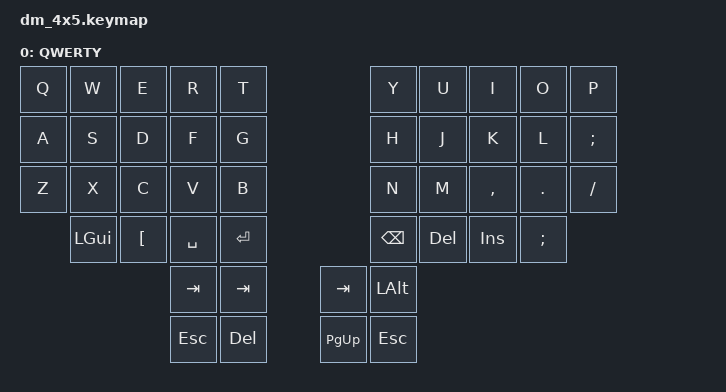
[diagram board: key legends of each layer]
/*
 * Copyright (c) 2020 The ZMK Contributors
 *
 * SPDX-License-Identifier: MIT
 */

#include <behaviors.dtsi>
#include <dt-bindings/zmk/keys.h>
#include <dt-bindings/zmk/bt.h>
#include <dt-bindings/zmk/outputs.h>
#include <dt-bindings/zmk/ext_power.h>
#include <dt-bindings/zmk/mouse.h>

/ {
	keymap {
		compatible = "zmk,keymap";

		default_layer {
			display-name = "QWERTY";

			bindings = <   
&kp Q  &kp W  &kp E    &kp R    &kp T                      &kp Y  &kp U    &kp I     &kp O   &kp P     
&kp A  &kp S  &kp D    &kp F    &kp G                      &kp H  &kp J    &kp K     &kp L   &kp SEMI  
&kp Z  &kp X  &kp C    &kp V    &kp B                      &kp N  &kp M    &kp COMMA &kp DOT &kp FSLH
       &kp LGUI &kp LBKT  &kp SPACE &kp ENTER     &kp BSPC  &kp DEL      &kp INS &kp SEMI
                      &kp TAB &kp TAB           &kp TAB &kp LALT 
					  &kp ESC  &kp DEL          &kp PG_UP &kp ESC
			>;
		};
	};
};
